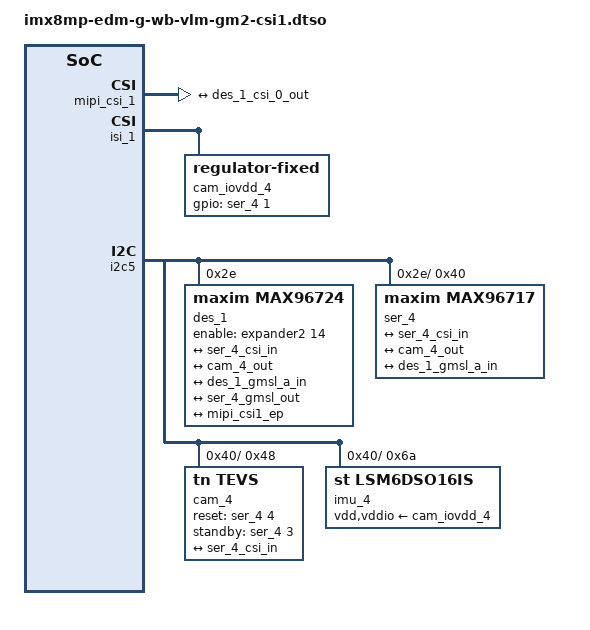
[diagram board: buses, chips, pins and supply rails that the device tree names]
// SPDX-License-Identifier: (GPL-2.0 OR MIT)
/*
 * Copyright 2026 TechNexion Ltd.
 *
 */

/dts-v1/;
/plugin/;

#include <dt-bindings/interrupt-controller/irq.h>
#include <dt-bindings/clock/imx8mp-clock.h>
#include <dt-bindings/gpio/gpio.h>

/*
 * MIPI CSI hs_settle = (lane_rate - 5 MHz) / 45 MHz
 *                    = (1500 - 5) / 45
 *                    = 33
 */
&mipi_csi_1 {
	#address-cells = <1>;
	#size-cells = <0>;
	status = "okay";

	port@1 {
		reg = <1>;
		mipi_csi1_ep: endpoint {
			remote-endpoint = <&des_1_csi_0_out>;
			data-lanes = <4>;
			csis-hs-settle = <33>;
			csis-clk-settle = <2>;
		};
	};
};

&isi_1 {
	status = "okay";

	cam_iovdd_4: regulator-cam-iovdd-4 {
		compatible = "regulator-fixed";
		regulator-name = "cam_iovdd_4";
		regulator-min-microvolt = <1800000>;
		regulator-max-microvolt = <1800000>;
		gpio = <&ser_4 1 GPIO_ACTIVE_HIGH>;
		startup-delay-us = <1000000>;
	};

	cap_device {
		status = "okay";
		fsl,stream-on-downstream-first;
	};
};

&i2c5 {
	#address-cells = <1>;
	#size-cells = <0>;

	des_1: max96724@2e {
		compatible = "maxim,max96724";
		reg = <0x2e>;
		status = "okay";

		#address-cells = <1>;
		#size-cells = <0>;

		enable-gpios = <&expander2 14 GPIO_ACTIVE_HIGH>;

		i2c-alias-pool = <0x41 0x42 0x43 0x44>;

		i2c-atr {
			#address-cells = <1>;
			#size-cells = <0>;

			des_1_i2c_0: i2c@0 {
				#address-cells = <1>;
				#size-cells = <0>;
				reg = <0>;
			};
		};

		ports {
			#address-cells = <1>;
			#size-cells = <0>;

			port@0 {
				#address-cells = <1>;
				#size-cells = <0>;
				reg = <0>;

				des_1_gmsl_a_in: endpoint@0 {
					remote-endpoint = <&ser_4_gmsl_out>;
				};
			};

			port@4 {
				#address-cells = <1>;
				#size-cells = <0>;
				reg = <4>;

				des_1_csi_0_out: endpoint@0 {
					data-lanes = <1 2 3 4>;
					clock-lanes = <0>;
					bus-type = <4>;
					link-frequencies = /bits/ 64 <750000000>;
					remote-endpoint = <&mipi_csi1_ep>;
				};
			};
		};
	};
};

&des_1_i2c_0 {
	ser_4: serializer@40 {
		compatible = "maxim,max96717";
		reg = <0x40>;

		gpio-controller;
		#gpio-cells = <2>;
		#clock-cells = <0>;

		i2c-alias-pool = <0x29 0x5f>;

		pinctrl-names = "default";
		pinctrl-0 = <&ser_4_fsync &ser_4_standby
			     &ser_4_reset &ser_4_ext_en>;

		ser_4_fsync: mfp0-pins {
			pins = "mfp0";
			function = "gpio";
			maxim,rx-id = <0>;
			output-enable;
			output-low;
		};

		ser_4_standby: mfp3-pins {
			pins = "mfp3";
			function = "gpio";
			output-enable;
			output-low;
		};

		ser_4_reset: mfp4-pins {
			pins = "mfp4";
			function = "gpio";
			output-enable;
			output-low;
		};

		ser_4_ext_en: mfp8-pins {
			pins = "mfp8";
			function = "gpio";
			output-enable;
			output-high;
		};

		i2c-atr {
			#address-cells = <1>;
			#size-cells = <0>;

			i2c@0 {
				#address-cells = <1>;
				#size-cells = <0>;
				reg = <0>;

				cam_4: tevs@48 {
					compatible = "tn,tevs";
					reg = <0x48>;
					status = "okay";
					reset-gpios = <&ser_4 4 GPIO_ACTIVE_HIGH>;
					standby-gpios = <&ser_4 3 GPIO_ACTIVE_HIGH>;

					port {
						cam_4_out: endpoint {
							remote-endpoint = <&ser_4_csi_in>;
							data-lanes = <1 2 3 4>;
							clock-lanes = <0>;
							link-frequencies = /bits/ 64 <400000000>;
						};
					};
				};

				imu_4: lsm6dsm@6a {
					compatible = "st,lsm6dso16is";
					reg = <0x6a>;
					vdd-supply = <&cam_iovdd_4>;
					vddio-supply = <&cam_iovdd_4>;
				};
			};
		};

		ports {
			#address-cells = <1>;
			#size-cells = <0>;

			port@0 {
				#address-cells = <1>;
				#size-cells = <0>;
				reg = <0>;
				ser_4_csi_in: endpoint {
					data-lanes = <1 2 3 4>;
					remote-endpoint = <&cam_4_out>;
				};
			};

			port@1 {
				reg = <1>;
				ser_4_gmsl_out: endpoint {
					remote-endpoint = <&des_1_gmsl_a_in>;
				};
			};
		};
	};
};
